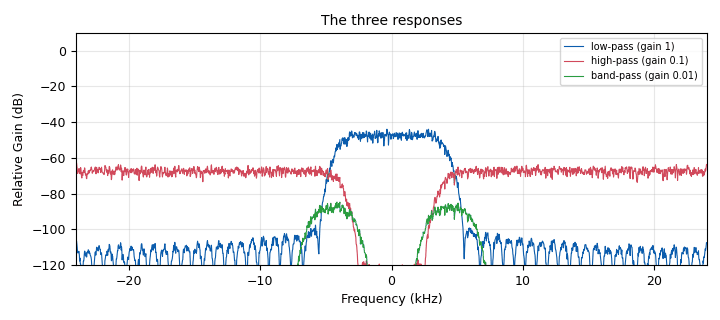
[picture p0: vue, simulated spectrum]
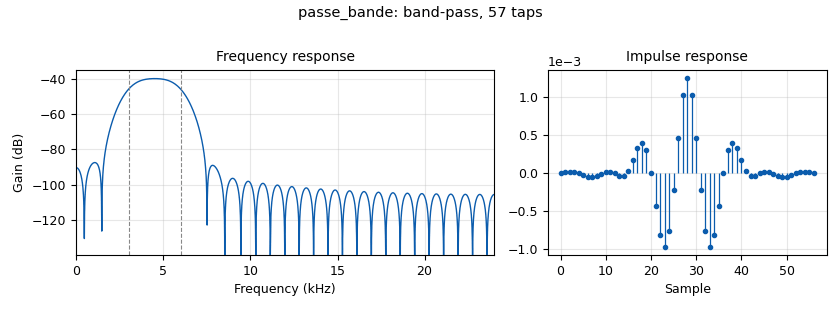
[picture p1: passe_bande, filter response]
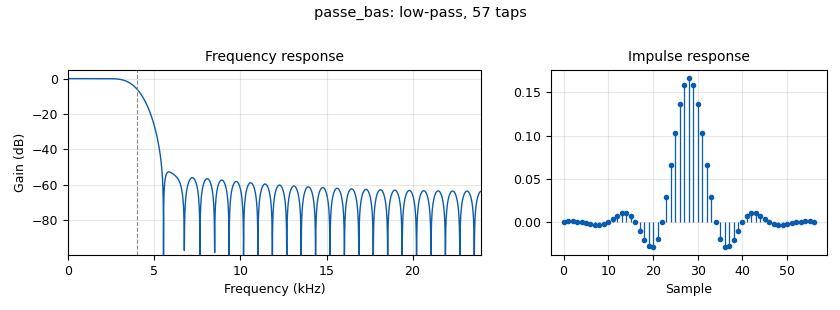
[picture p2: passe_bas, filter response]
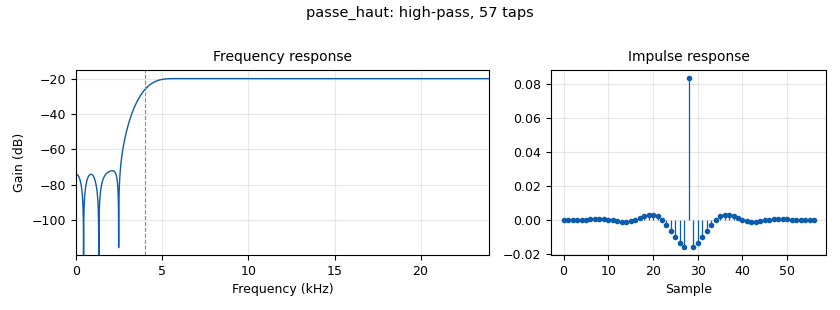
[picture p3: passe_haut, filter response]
options:
  parameters:
    generate_options: qt_gui
    id: fg_tp06_001
    output_language: python
    title: FG-TP06-001
  states: {}

blocks:
- name: coupure
  id: variable
  parameters:
    value: '4000'
  states: {}
- name: nb_coefs
  id: variable_qtgui_label
  parameters:
    gui_hint: 1,0,1,1
    label: '"Low-pass taps"'
    type: int
    value: len(firdes.low_pass(1.0, samp_rate, coupure, transition))
  states: {}
- name: samp_rate
  id: variable
  parameters:
    value: '48000'
  states: {}
- name: transition
  id: variable_qtgui_range
  parameters:
    gui_hint: 0,0,1,1
    label: '"Transition (Hz)"'
    start: '100'
    step: '100'
    stop: '2000'
    value: '2000'
  states: {}
- name: bruit
  id: analog_noise_source_x
  parameters:
    amp: '0.5'
    noise_type: analog.GR_GAUSSIAN
    seed: '0'
    type: complex
  states: {}
- name: debit
  id: blocks_throttle2
  parameters:
    samples_per_second: samp_rate
    type: complex
  states: {}
- name: passe_bande
  id: band_pass_filter
  parameters:
    decim: '1'
    gain: '0.01'
    high_cutoff_freq: '6000'
    low_cutoff_freq: '3000'
    samp_rate: samp_rate
    type: fir_filter_ccf
    width: transition
    win: window.WIN_HAMMING
  states: {}
- name: passe_bas
  id: low_pass_filter
  parameters:
    cutoff_freq: coupure
    decim: '1'
    gain: '1'
    samp_rate: samp_rate
    type: fir_filter_ccf
    width: transition
    win: window.WIN_HAMMING
  states: {}
- name: passe_haut
  id: high_pass_filter
  parameters:
    cutoff_freq: coupure
    decim: '1'
    gain: '0.1'
    samp_rate: samp_rate
    type: fir_filter_ccf
    width: transition
    win: window.WIN_HAMMING
  states: {}
- name: vue
  id: qtgui_freq_sink_x
  parameters:
    average: '0.1'
    bw: samp_rate
    fc: '0'
    fftsize: '2048'
    grid: 'True'
    gui_hint: 2,0,1,1
    label1: '"low-pass (gain 1)"'
    label2: '"high-pass (gain 0.1)"'
    label3: '"band-pass (gain 0.01)"'
    name: '"The three responses"'
    nconnections: '3'
    type: complex
    ymin: '-120'
  states: {}

connections:
- [bruit, '0', debit, '0']
- [debit, '0', passe_bande, '0']
- [debit, '0', passe_bas, '0']
- [debit, '0', passe_haut, '0']
- [passe_bande, '0', vue, '2']
- [passe_bas, '0', vue, '0']
- [passe_haut, '0', vue, '1']

metadata:
  file_format: 1
  grc_version: 3.10.12.0
